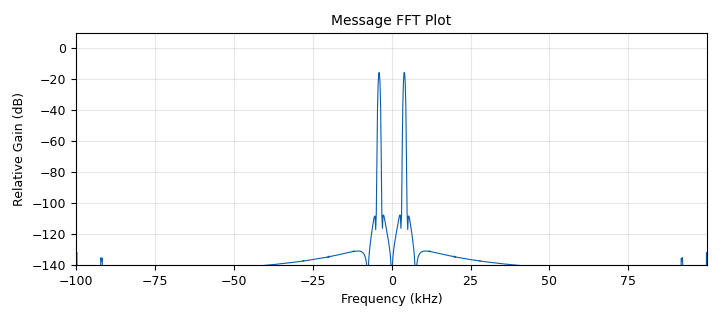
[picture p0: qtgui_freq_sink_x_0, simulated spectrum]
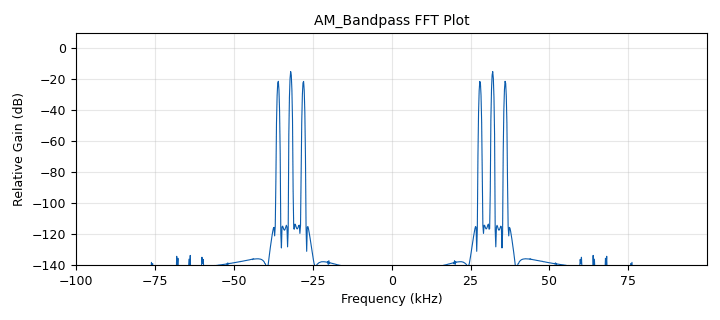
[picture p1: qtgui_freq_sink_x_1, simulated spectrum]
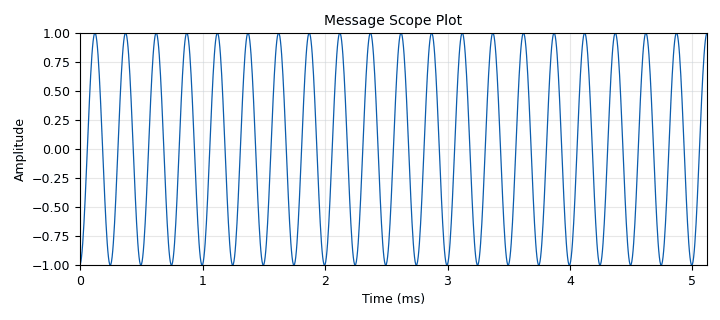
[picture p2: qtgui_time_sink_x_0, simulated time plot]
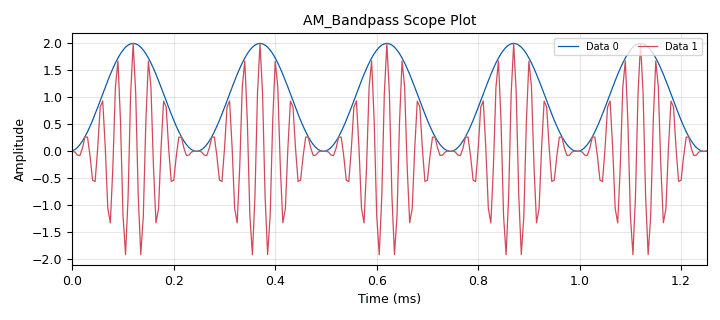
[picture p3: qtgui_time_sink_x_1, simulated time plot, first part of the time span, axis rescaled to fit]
<?xml version='1.0' encoding='utf-8'?>
<?grc format='1' created='3.7.13'?>
<flow_graph>
<block>
<key>options</key>
<param><key>id</key><value>top_block</value></param>
<param><key>category</key><value>Custom</value></param>
<param><key>generate_options</key><value>qt_gui</value></param>
</block>
<block>
<key>variable_qtgui_range</key>
<param><key>id</key><value>fc</value></param>
<param><key>value</key><value>32000</value></param>
<param><key>orient</key><value>Qt.Horizontal</value></param>
<param><key>start</key><value>16000</value></param>
<param><key>step</key><value>160</value></param>
<param><key>stop</key><value>samp_rate/2</value></param>
</block>
<block>
<key>variable_qtgui_range</key>
<param><key>id</key><value>fm</value></param>
<param><key>value</key><value>4000</value></param>
<param><key>orient</key><value>Qt.Horizontal</value></param>
<param><key>start</key><value>0</value></param>
<param><key>step</key><value>100</value></param>
<param><key>stop</key><value>10000</value></param>
</block>
<block>
<key>variable_qtgui_range</key>
<param><key>id</key><value>ka</value></param>
<param><key>value</key><value>1</value></param>
<param><key>orient</key><value>Qt.Horizontal</value></param>
<param><key>start</key><value>0</value></param>
<param><key>step</key><value>.01</value></param>
<param><key>stop</key><value>2</value></param>
</block>
<block>
<key>variable</key>
<param><key>id</key><value>samp_rate</value></param>
<param><key>value</key><value>200000</value></param>
</block>
<block>
<key>analog_sig_source_x</key>
<param><key>id</key><value>analog_sig_source_x_0</value></param>
<param><key>amp</key><value>1</value></param>
<param><key>freq</key><value>fm</value></param>
<param><key>offset</key><value>0</value></param>
<param><key>type</key><value>float</value></param>
<param><key>samp_rate</key><value>samp_rate</value></param>
<param><key>waveform</key><value>analog.GR_COS_WAVE</value></param>
</block>
<block>
<key>analog_sig_source_x</key>
<param><key>id</key><value>analog_sig_source_x_1_1</value></param>
<param><key>amp</key><value>1</value></param>
<param><key>freq</key><value>fc</value></param>
<param><key>offset</key><value>0</value></param>
<param><key>type</key><value>float</value></param>
<param><key>samp_rate</key><value>samp_rate</value></param>
<param><key>waveform</key><value>analog.GR_COS_WAVE</value></param>
</block>
<block>
<key>blocks_add_const_vxx</key>
<param><key>id</key><value>blocks_add_const_vxx_0</value></param>
<param><key>const</key><value>1</value></param>
<param><key>type</key><value>float</value></param>
</block>
<block>
<key>blocks_file_sink</key>
<param><key>id</key><value>blocks_file_sink_0</value></param>
<param><key>file</key><value>/home/username/path/to/AM_TX.dat</value></param>
<param><key>type</key><value>float</value></param>
</block>
<block>
<key>blocks_file_source</key>
<param><key>id</key><value>blocks_file_source_1</value></param>
<param><key>_enabled</key><value>0</value></param>
<param><key>file</key><value>/home/username/path/to/two_sin_waves.dat</value></param>
<param><key>type</key><value>float</value></param>
<param><key>repeat</key><value>True</value></param>
</block>
<block>
<key>blocks_multiply_const_vxx</key>
<param><key>id</key><value>blocks_multiply_const_vxx_0</value></param>
<param><key>const</key><value>ka</value></param>
<param><key>type</key><value>float</value></param>
</block>
<block>
<key>blocks_multiply_xx</key>
<param><key>id</key><value>blocks_multiply_xx_2</value></param>
<param><key>type</key><value>float</value></param>
</block>
<block>
<key>blocks_throttle</key>
<param><key>id</key><value>blocks_throttle_1</value></param>
<param><key>samples_per_second</key><value>samp_rate</value></param>
<param><key>type</key><value>float</value></param>
</block>
<block>
<key>qtgui_freq_sink_x</key>
<param><key>id</key><value>qtgui_freq_sink_x_0</value></param>
<param><key>bw</key><value>samp_rate</value></param>
<param><key>fc</key><value>0</value></param>
<param><key>fftsize</key><value>1024</value></param>
<param><key>gui_hint</key><value>tabs_0@1</value></param>
<param><key>name</key><value>"Message FFT Plot"</value></param>
<param><key>showports</key><value>True</value></param>
<param><key>type</key><value>float</value></param>
<param><key>wintype</key><value>firdes.WIN_BLACKMAN_hARRIS</value></param>
</block>
<block>
<key>qtgui_freq_sink_x</key>
<param><key>id</key><value>qtgui_freq_sink_x_1</value></param>
<param><key>bw</key><value>samp_rate</value></param>
<param><key>fc</key><value>0</value></param>
<param><key>fftsize</key><value>1024</value></param>
<param><key>gui_hint</key><value>tabs_0@3</value></param>
<param><key>name</key><value>"AM_Bandpass FFT Plot"</value></param>
<param><key>showports</key><value>True</value></param>
<param><key>type</key><value>float</value></param>
<param><key>wintype</key><value>firdes.WIN_BLACKMAN_hARRIS</value></param>
</block>
<block>
<key>qtgui_time_sink_x</key>
<param><key>id</key><value>qtgui_time_sink_x_0</value></param>
<param><key>gui_hint</key><value>tabs_0@0</value></param>
<param><key>color1</key><value>"blue"</value></param>
<param><key>label1</key><value></value></param>
<param><key>name</key><value>"Message Scope Plot"</value></param>
<param><key>size</key><value>1024</value></param>
<param><key>srate</key><value>samp_rate</value></param>
<param><key>type</key><value>float</value></param>
</block>
<block>
<key>qtgui_time_sink_x</key>
<param><key>id</key><value>qtgui_time_sink_x_1</value></param>
<param><key>gui_hint</key><value>tabs_0@2</value></param>
<param><key>color1</key><value>"blue"</value></param>
<param><key>label1</key><value></value></param>
<param><key>color2</key><value>"red"</value></param>
<param><key>label2</key><value></value></param>
<param><key>name</key><value>"AM_Bandpass Scope Plot"</value></param>
<param><key>nconnections</key><value>2</value></param>
<param><key>size</key><value>1024</value></param>
<param><key>srate</key><value>samp_rate</value></param>
<param><key>type</key><value>float</value></param>
</block>
<block>
<key>qtgui_tab_widget</key>
<param><key>id</key><value>tabs_0</value></param>
<param><key>label0</key><value>Tab 0</value></param>
<param><key>label1</key><value>Tab 1</value></param>
<param><key>label2</key><value>Tab 2</value></param>
<param><key>label3</key><value>Tab 3</value></param>
<param><key>num_tabs</key><value>4</value></param>
</block>
<connection><source_block_id>analog_sig_source_x_0</source_block_id><sink_block_id>blocks_throttle_1</sink_block_id><source_key>0</source_key><sink_key>0</sink_key></connection>
<connection><source_block_id>analog_sig_source_x_1_1</source_block_id><sink_block_id>blocks_multiply_xx_2</sink_block_id><source_key>0</source_key><sink_key>1</sink_key></connection>
<connection><source_block_id>blocks_add_const_vxx_0</source_block_id><sink_block_id>blocks_multiply_xx_2</sink_block_id><source_key>0</source_key><sink_key>0</sink_key></connection>
<connection><source_block_id>blocks_add_const_vxx_0</source_block_id><sink_block_id>qtgui_time_sink_x_1</sink_block_id><source_key>0</source_key><sink_key>0</sink_key></connection>
<connection><source_block_id>blocks_file_source_1</source_block_id><sink_block_id>blocks_throttle_1</sink_block_id><source_key>0</source_key><sink_key>0</sink_key></connection>
<connection><source_block_id>blocks_multiply_const_vxx_0</source_block_id><sink_block_id>blocks_add_const_vxx_0</sink_block_id><source_key>0</source_key><sink_key>0</sink_key></connection>
<connection><source_block_id>blocks_multiply_xx_2</source_block_id><sink_block_id>blocks_file_sink_0</sink_block_id><source_key>0</source_key><sink_key>0</sink_key></connection>
<connection><source_block_id>blocks_multiply_xx_2</source_block_id><sink_block_id>qtgui_freq_sink_x_1</sink_block_id><source_key>0</source_key><sink_key>0</sink_key></connection>
<connection><source_block_id>blocks_multiply_xx_2</source_block_id><sink_block_id>qtgui_time_sink_x_1</sink_block_id><source_key>0</source_key><sink_key>1</sink_key></connection>
<connection><source_block_id>blocks_throttle_1</source_block_id><sink_block_id>blocks_multiply_const_vxx_0</sink_block_id><source_key>0</source_key><sink_key>0</sink_key></connection>
<connection><source_block_id>blocks_throttle_1</source_block_id><sink_block_id>qtgui_freq_sink_x_0</sink_block_id><source_key>0</source_key><sink_key>0</sink_key></connection>
<connection><source_block_id>blocks_throttle_1</source_block_id><sink_block_id>qtgui_time_sink_x_0</sink_block_id><source_key>0</source_key><sink_key>0</sink_key></connection>
</flow_graph>
